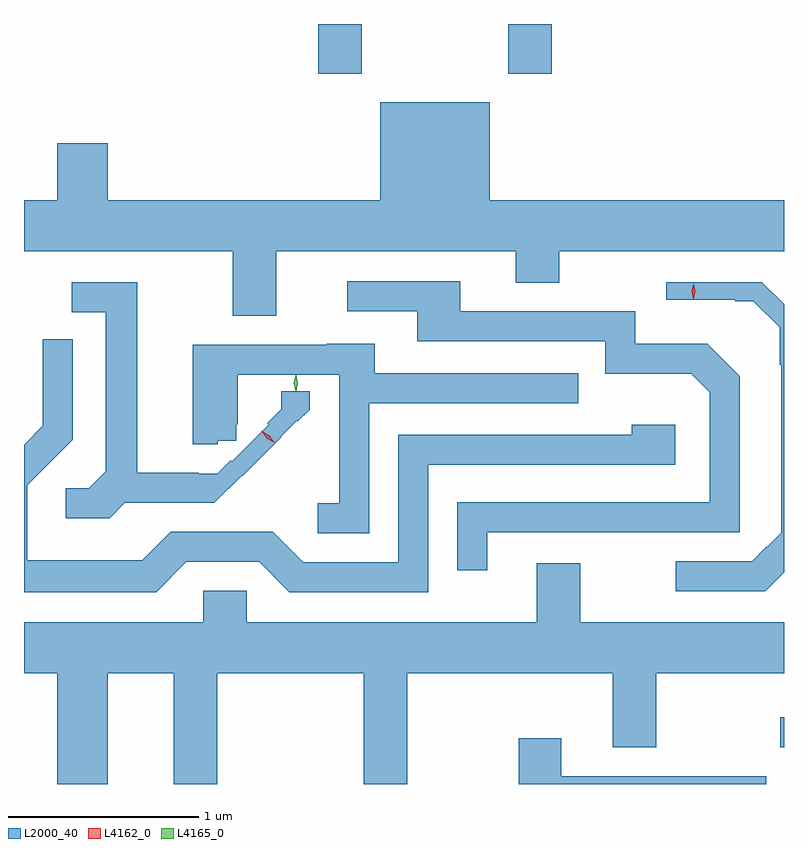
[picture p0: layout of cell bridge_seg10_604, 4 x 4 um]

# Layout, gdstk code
import gdstk
lib = gdstk.Library(unit=1e-6, precision=1e-09)
def R(c, l, rs):  # rectangles x0, y0, x1, y1
    for r in rs: c.add(gdstk.rectangle(r[:2], r[2:], *l))
def P(c, l, *ps):  # polygons
    for p in ps: c.add(gdstk.Polygon(p, *l))
L2000_40 = (2000, 40)
L4162_0 = (4162, 0)
L4165_0 = (4165, 0)

bridge_seg10_604 = lib.new_cell('bridge_seg10_604')
R(bridge_seg10_604, L2000_40, [(658.443,2104.646,658.462,2104.804), (656.011,2108.191,656.239,2108.452), (657.011,2108.191,657.239,2108.452)])
P(bridge_seg10_604, L2000_40, [(655.789,2107.256),(657.051,2107.256),(657.051,2107.091),(657.279,2107.091),(657.279,2107.256),(658.462,2107.256),(658.462,2107.524),(656.914,2107.524),(656.914,2108.039),(656.336,2108.039),(656.336,2107.524),(654.904,2107.524),(654.904,2107.824),(654.636,2107.824),(654.636,2107.524),(654.462,2107.524),(654.462,2107.256),(655.561,2107.256),(655.561,2106.916),(655.789,2106.916)],
  [(656.899,2105.776),(658.229,2105.776),(658.229,2106.597),(658.057,2106.769),(657.679,2106.769),(657.679,2106.939),(656.759,2106.939),(656.759,2107.099),(656.163,2107.099),(656.163,2106.941),(656.531,2106.941),(656.531,2106.781),(657.521,2106.781),(657.521,2106.611),(657.974,2106.611),(658.071,2106.514),(658.071,2105.934),(656.741,2105.934),(656.741,2105.578),(656.899,2105.578)],
  [(654.992,2105.931),(655.464,2105.931),(655.611,2106.078),(655.614,2106.075),(655.816,2106.276),(655.812,2106.28),(655.897,2106.365),(655.902,2106.36),(655.965,2106.423),(655.965,2106.518),(655.815,2106.518),(655.815,2106.424),(655.742,2106.35),(655.749,2106.343),(655.557,2106.152),(655.551,2106.157),(655.479,2106.085),(655.382,2106.085),(655.382,2106.089),(655.059,2106.089),(655.059,2107.094),(654.713,2107.094),(654.713,2106.936),(654.891,2106.936),(654.891,2106.097),(654.804,2106.009),(654.683,2106.009),(654.683,2105.851),(654.912,2105.851)],
  [(658.462,2105.567),(658.462,2106.976),(658.346,2107.092),(657.843,2107.092),(657.843,2107),(658.205,2107),(658.205,2106.994),(658.301,2106.994),(658.44,2106.855),(658.44,2106.659),(658.447,2106.659),(658.447,2105.774),(658.371,2105.698),(658.369,2105.7),(658.294,2105.624),(657.893,2105.624),(657.893,2105.466),(658.362,2105.466)],
  [(655.317,2105.621),(655.699,2105.621),(655.859,2105.461),(656.589,2105.461),(656.589,2106.131),(657.889,2106.131),(657.889,2106.344),(657.661,2106.344),(657.661,2106.289),(656.431,2106.289),(656.431,2105.619),(655.932,2105.619),(655.772,2105.779),(655.234,2105.779),(655.084,2105.629),(654.479,2105.629),(654.479,2106.024),(654.719,2106.264),(654.719,2106.793),(654.561,2106.793),(654.561,2106.337),(654.462,2106.238),(654.462,2105.461),(655.157,2105.461)],
  [(656.279,2106.456),(657.378,2106.456),(657.378,2106.614),(656.309,2106.614),(656.309,2106.769),(656.055,2106.769),(656.055,2106.764),(655.351,2106.764),(655.351,2106.241),(655.482,2106.241),(655.482,2106.258),(655.578,2106.258),(655.578,2106.345),(655.588,2106.345),(655.588,2106.606),(656.121,2106.606),(656.121,2105.929),(656.008,2105.929),(656.008,2105.771),(656.279,2105.771)],
  [(656.251,2104.452),(656.479,2104.452),(656.479,2105.036),(657.561,2105.036),(657.561,2104.646),(657.789,2104.646),(657.789,2105.036),(658.462,2105.036),(658.462,2105.304),(657.389,2105.304),(657.389,2105.614),(657.161,2105.614),(657.161,2105.304),(655.634,2105.304),(655.634,2105.469),(655.406,2105.469),(655.406,2105.304),(654.462,2105.304),(654.462,2105.036),(654.636,2105.036),(654.636,2104.452),(654.904,2104.452),(654.904,2105.036),(655.251,2105.036),(655.251,2104.452),(655.479,2104.452),(655.479,2105.036),(656.251,2105.036)],
  [(658.369,2104.494),(657.289,2104.494),(657.289,2104.694),(657.066,2104.694),(657.066,2104.452),(658.369,2104.452)])
P(bridge_seg10_604, L4162_0, [(655.776,2106.25),(655.741,2106.27),(655.72,2106.304),(655.72,2106.304),(655.72,2106.304),(655.755,2106.284),(655.776,2106.251),(655.776,2106.25)],
  [(657.985,2107.006),(657.985,2107.007),(657.976,2107.045),(657.985,2107.083),(657.986,2107.083),(657.986,2107.083),(657.995,2107.045),(657.986,2107.007)],
  [(655.781,2106.247),(655.74,2106.271),(655.713,2106.309),(655.713,2106.31),(655.714,2106.31),(655.754,2106.286),(655.782,2106.248),(655.782,2106.247)])
P(bridge_seg10_604, L4165_0, [(655.894,2106.522),(655.894,2106.523),(655.884,2106.562),(655.894,2106.602),(655.894,2106.602),(655.895,2106.602),(655.904,2106.562),(655.895,2106.523)],
  [(655.893,2106.519),(655.893,2106.52),(655.883,2106.562),(655.893,2106.604),(655.893,2106.604),(655.894,2106.604),(655.903,2106.562),(655.894,2106.52)])

lib.write_gds('bridge_seg10_604.gds')
